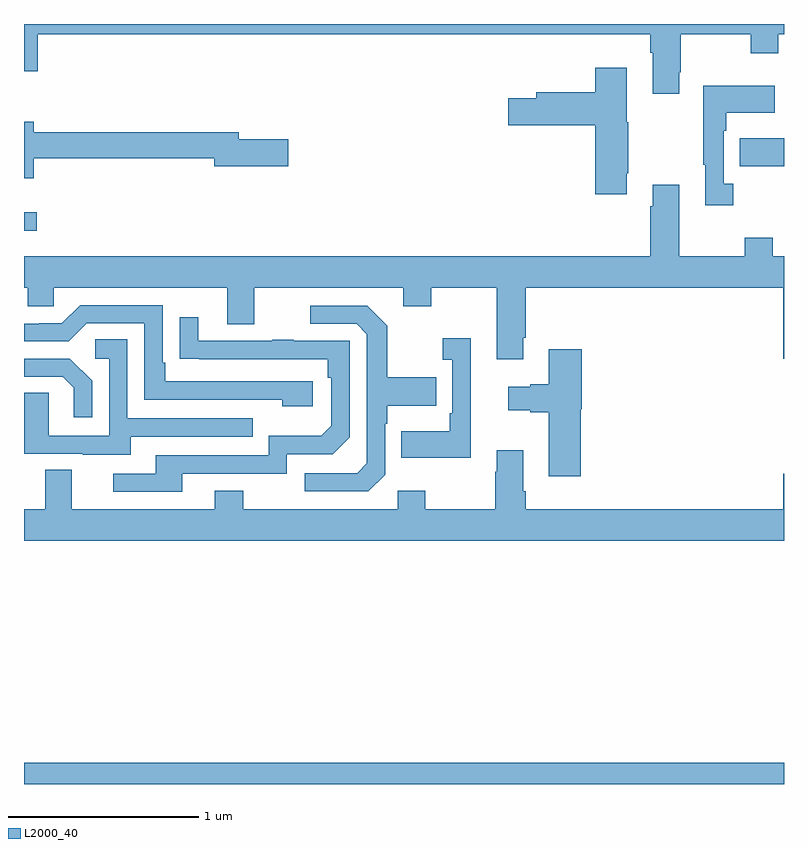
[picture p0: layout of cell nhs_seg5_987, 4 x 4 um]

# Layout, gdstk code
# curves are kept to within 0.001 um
import gdstk
lib = gdstk.Library(unit=1e-6, precision=1e-09)
def R(c, l, rs):  # rectangles x0, y0, x1, y1
    for r in rs: c.add(gdstk.rectangle(r[:2], r[2:], *l))
def P(c, l, *ps):  # polygons
    for p in ps: c.add(gdstk.Polygon(p, *l))
L2000_40 = (2000, 40)

nhs_seg5_987 = lib.new_cell('nhs_seg5_987')
R(nhs_seg5_987, L2000_40, [(173,868.799,177,868.912), (173,871.712,173.068,871.809), (176.767,872.05,177,872.197)])
P(nhs_seg5_987, L2000_40, [(176.449,872.545),(176.457,872.545),(176.457,872.744),(176.824,872.744),(176.824,872.645),(176.97,872.645),(176.97,872.744),(177,872.744),(177,872.799),(173,872.799),(173,872.55),(173.072,872.55),(173.072,872.744),(176.297,872.744),(176.297,872.648),(176.309,872.648),(176.309,872.433),(176.449,872.433)],
  [(176.173,872.014),(176.181,872.014),(176.181,872.283),(176.173,872.283),(176.173,872.569),(176.006,872.569),(176.006,872.439),(175.697,872.439),(175.697,872.409),(175.548,872.409),(175.548,872.267),(176.006,872.267),(176.006,871.902),(176.173,871.902)],
  [(176.734,871.958),(176.682,871.958),(176.682,872.237),(176.695,872.237),(176.695,872.333),(176.951,872.333),(176.951,872.473),(176.574,872.473),(176.574,872.057),(176.585,872.057),(176.585,871.845),(176.734,871.845)],
  [(173.05,872.092),(174.002,872.092),(174.002,872.05),(174.391,872.05),(174.391,872.192),(174.13,872.192),(174.13,872.228),(173.05,872.228),(173.05,872.284),(173,872.284),(173,871.988),(173.05,871.988)],
  [(175.627,871.147),(175.64,871.147),(175.64,871.412),(176.996,871.412),(176.996,871.038),(177,871.038),(177,871.576),(176.941,871.576),(176.941,871.675),(176.794,871.675),(176.794,871.576),(176.449,871.576),(176.449,871.954),(176.309,871.954),(176.309,871.841),(176.297,871.841),(176.297,871.576),(173,871.576),(173,871.412),(173.019,871.412),(173.019,871.314),(173.157,871.314),(173.157,871.412),(174.071,871.412),(174.071,871.218),(174.211,871.218),(174.211,871.412),(174.995,871.412),(174.995,871.313),(175.143,871.313),(175.143,871.412),(175.487,871.412),(175.487,871.035),(175.627,871.035)],
  [(174.52,870.918),(173.743,870.918),(173.743,871.015),(173.73,871.015),(173.73,871.32),(173.295,871.32),(173.199,871.224),(173.081,871.224),(173.081,871.221),(173,871.221),(173,871.128),(173.235,871.128),(173.331,871.224),(173.634,871.224),(173.634,870.822),(174.359,870.822),(174.359,870.788),(174.52,870.788)],
  [(174.9,870.426),(174.9,870.695),(174.913,870.695),(174.913,870.791),(175.169,870.791),(175.169,870.939),(174.913,870.939),(174.913,871.211),(174.807,871.317),(174.507,871.317),(174.507,871.221),(174.75,871.221),(174.804,871.167),(174.804,870.486),(174.753,870.435),(174.477,870.435),(174.477,870.339),(174.813,870.339)],
  [(173.833,870.432),(174.384,870.432),(174.384,870.534),(174.624,870.534),(174.714,870.624),(174.714,871.131),(174.419,871.131),(174.419,871.136),(174.307,871.136),(174.307,871.131),(173.917,871.131),(173.917,871.255),(173.821,871.255),(173.821,871.036),(174.598,871.035),(174.598,870.938),(174.618,870.938),(174.618,870.684),(174.565,870.631),(174.288,870.631),(174.288,870.528),(173.693,870.528),(173.693,870.432),(173.469,870.432),(173.469,870.336),(173.833,870.336)],
  [(175.352,871.144),(175.203,871.144),(175.203,871.031),(175.254,871.031),(175.254,870.751),(175.242,870.751),(175.242,870.655),(174.985,870.655),(174.985,870.515),(175.352,870.515)],
  [(173.563,870.627),(174.203,870.627),(174.203,870.723),(173.544,870.723),(173.544,871.139),(173.376,871.139),(173.376,871.038),(173.448,871.038),(173.448,870.633),(173.13,870.633),(173.13,870.857),(173,870.857),(173,870.537),(173.309,870.537),(173.309,870.533),(173.563,870.533)],
  [(175.931,870.771),(175.936,870.771),(175.936,871.087),(175.763,871.087),(175.763,870.902),(175.664,870.902),(175.664,870.889),(175.548,870.889),(175.548,870.767),(175.664,870.767),(175.664,870.755),(175.763,870.755),(175.763,870.42),(175.931,870.42)],
  [(173.358,870.922),(173.242,871.038),(173,871.038),(173,870.942),(173.204,870.942),(173.261,870.885),(173.261,870.729),(173.358,870.729)],
  [(177,870.433),(176.996,870.433),(176.996,870.244),(175.64,870.244),(175.64,870.34),(175.627,870.34),(175.627,870.556),(175.487,870.556),(175.487,870.443),(175.48,870.443),(175.48,870.244),(175.113,870.244),(175.113,870.343),(174.966,870.343),(174.966,870.244),(174.153,870.244),(174.153,870.343),(174.005,870.343),(174.005,870.244),(173.251,870.244),(173.251,870.452),(173.111,870.452),(173.111,870.244),(173,870.244),(173,870.08),(177,870.08)])

lib.write_gds('nhs_seg5_987.gds')
